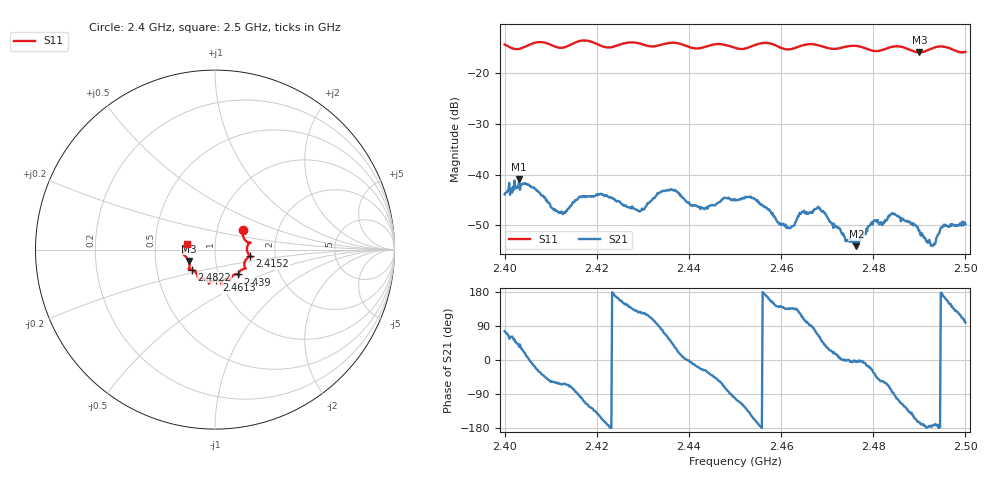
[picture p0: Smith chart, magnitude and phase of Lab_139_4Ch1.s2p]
# Hz S RI R 50
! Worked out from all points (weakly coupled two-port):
!   601 points, 2.4 GHz to 2.5 GHz, reference 50 ohm
!   highest |S21| = -40.93 dB at 2.4032 GHz (marker M1); lowest = -54.1 dB at 2.4763 GHz (marker M2)
!   lowest |S11| = -15.9 dB at 2.49 GHz (marker M3), VSWR 1.38, Z = 36.9 - j4.84 ohm
!   |S11| at or under -10 dB: start of sweep to end of sweep
!   S12 and S22 are empty: the file has one direction only
!   S11 on the Smith chart (normalised r, x): 2.4 GHz: 1.33, +0.31; 2.4152 GHz: 1.48, -0.11; 2.439 GHz: 1.24, -0.36; 2.4613 GHz: 0.96, -0.34; 2.4822 GHz: 0.76, -0.17; 2.5 GHz: 0.73, +0.05
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2.4e9  0.1552 0.1117  0.00155 0.00618  0 0  0 0
2.403167e9  0.1629 0.0595  0.00741 0.00509  0 0  0 0
2.412167e9  0.1776 0.00356  0.00189 -0.00375  0 0  0 0
2.415167e9  0.1952 -0.0363  0.000911 -0.00531  0 0  0 0
2.416667e9  0.2047 -0.0424  -0.00109 -0.00588  0 0  0 0
2.429167e9  0.166 -0.1057  -0.00261 0.00352  0 0  0 0
2.433333e9  0.1321 -0.1322  -0.000134 0.00649  0 0  0 0
2.439e9  0.1278 -0.1385  0.00571 0.000494  0 0  0 0
2.443e9  0.0907 -0.154  0.00425 -0.00196  0 0  0 0
2.45e9  0.0689 -0.1637  -0.00104 -0.00545  0 0  0 0
2.454333e9  0.0347 -0.1863  -0.00531 -0.00206  0 0  0 0
2.461333e9  0.00753 -0.1711  -0.00212 0.00207  0 0  0 0
2.466667e9  -0.0338 -0.1902  7.51e-05 0.00429  0 0  0 0
2.4685e9  -0.0345 -0.1828  0.00242 0.00381  0 0  0 0
2.476333e9  -0.0945 -0.1598  0.00196 -0.000172  0 0  0 0
2.48e9  -0.107 -0.1268  0.00289 -0.00185  0 0  0 0
2.482167e9  -0.1284 -0.1119  0.00188 -0.00282  0 0  0 0
2.483333e9  -0.1395 -0.1102  0.00147 -0.00365  0 0  0 0
2.49e9  -0.1468 -0.0638  -0.0027 -0.000792  0 0  0 0
2.493e9  -0.175 -0.0277  -0.00198 -0.000256  0 0  0 0
2.495167e9  -0.1816 -0.0208  -0.00301 0.000633  0 0  0 0
2.5e9  -0.1581 0.034  -0.000501 0.00321  0 0  0 0
